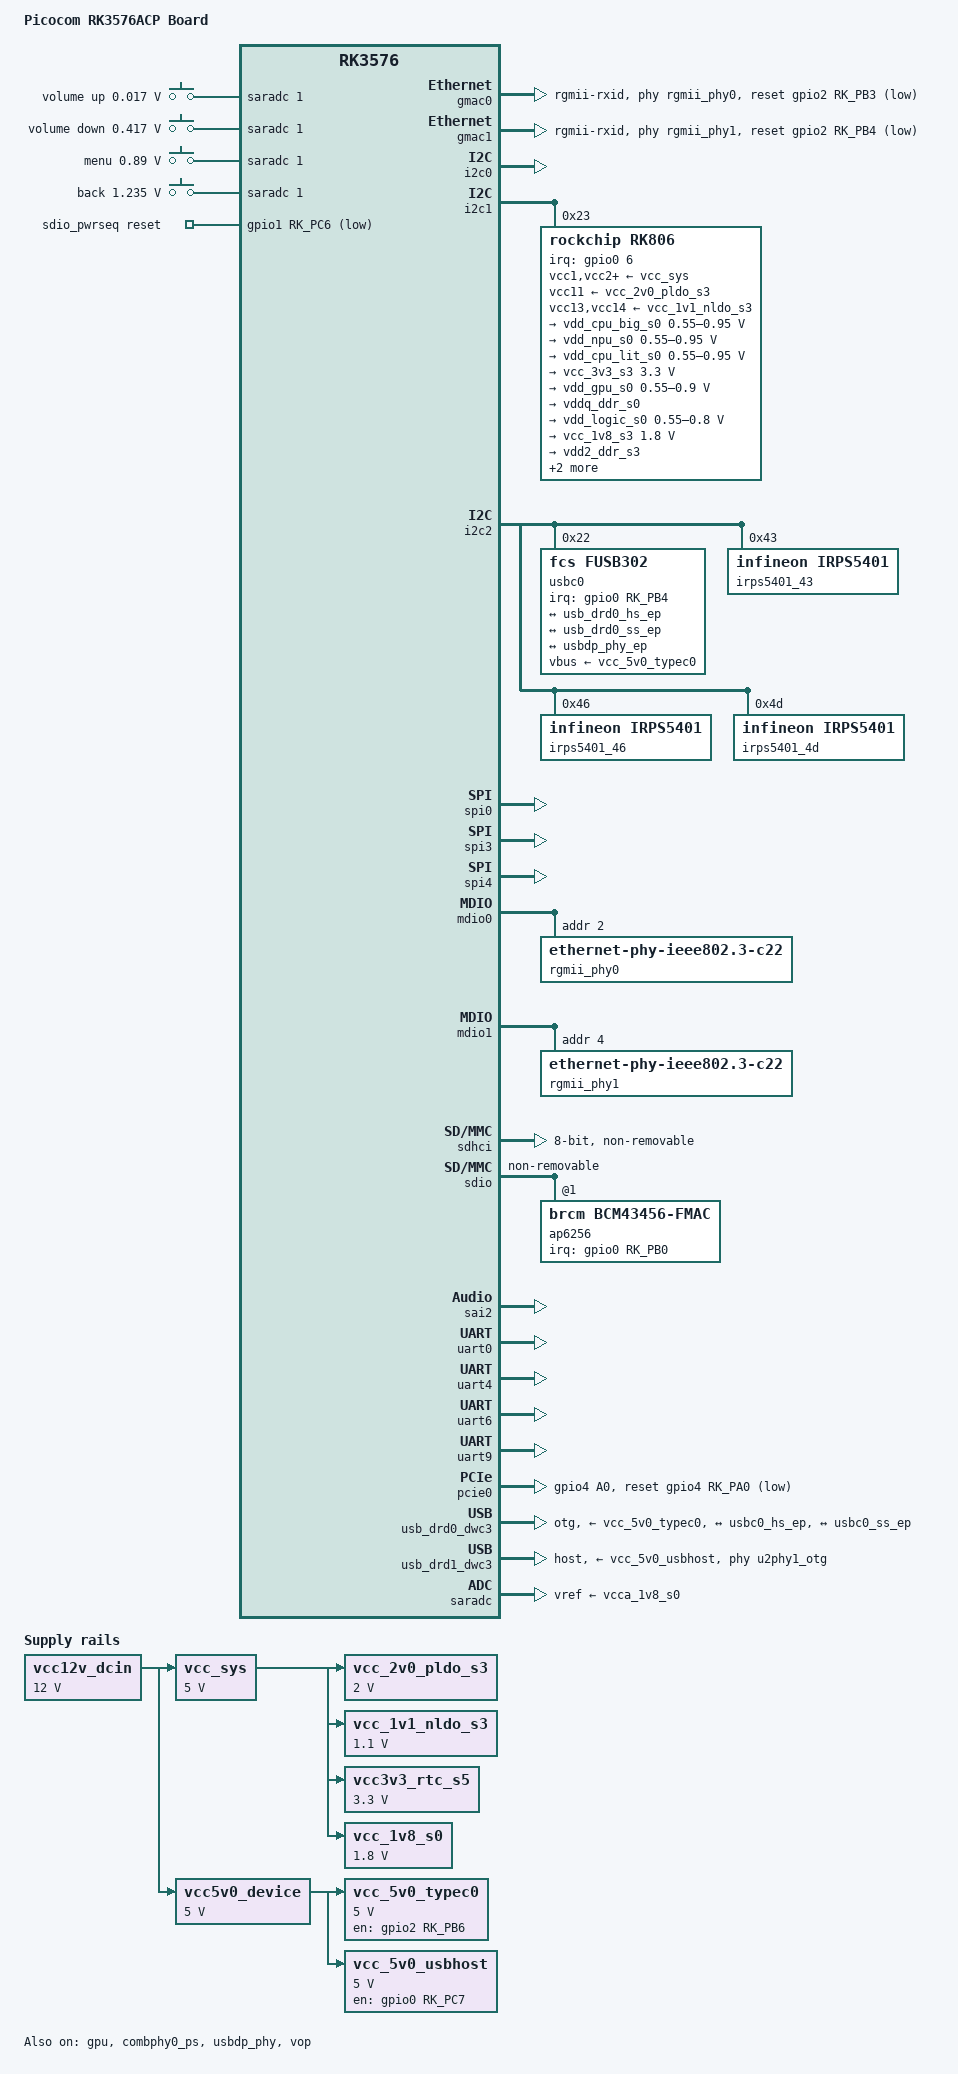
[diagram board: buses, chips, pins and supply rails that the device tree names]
// SPDX-License-Identifier: (GPL-2.0+ OR MIT)
/*
 * Copyright (c) 2024 Rockchip Electronics Co., Ltd.
 *
 */

/dts-v1/;
#include <dt-bindings/usb/pd.h>
#include <dt-bindings/gpio/gpio.h>
#include <dt-bindings/pinctrl/rockchip.h>
#include <dt-bindings/input/input.h>
#include <dt-bindings/soc/rockchip,boot-mode.h>
#include <dt-bindings/soc/rockchip,vop2.h>
#include "rk3576.dtsi"

/ {
	model = "Picocom RK3576ACP Board";
	compatible = "picocom,rk3576acp", "rockchip,rk3576";

	aliases {
		ethernet0 = &gmac0;
		ethernet1 = &gmac1;
		mmc0 = &sdhci;
		mmc1 = &sdio;
	};

	chosen: chosen {
		stdout-path = "serial0:1500000n8";
		bootargs = "earlycon=uart8250,mmio32,0x2ad40000,1500000n8 console=ttyS0,1500000n8";
	};

	adc_keys: adc-keys {
		compatible = "adc-keys";
		io-channels = <&saradc 1>;
		io-channel-names = "buttons";
		keyup-threshold-microvolt = <1800000>;
		poll-interval = <100>;

		vol-up-key {
			label = "volume up";
			linux,code = <KEY_VOLUMEUP>;
			press-threshold-microvolt = <17000>;
		};

		vol-down-key {
			label = "volume down";
			linux,code = <KEY_VOLUMEDOWN>;
			press-threshold-microvolt = <417000>;
		};

		menu-key {
			label = "menu";
			linux,code = <KEY_MENU>;
			press-threshold-microvolt = <890000>;
		};

		back-key {
			label = "back";
			linux,code = <KEY_BACK>;
			press-threshold-microvolt = <1235000>;
		};
	};

	vcc12v_dcin: vcc12v-dcin {
		compatible = "regulator-fixed";
		regulator-name = "vcc12v_dcin";
		regulator-always-on;
		regulator-boot-on;
		regulator-min-microvolt = <12000000>;
		regulator-max-microvolt = <12000000>;
	};

	vcc_sys: vcc5v0-sys {
		compatible = "regulator-fixed";
		regulator-name = "vcc5v0_sys";
		regulator-always-on;
		regulator-boot-on;
		regulator-min-microvolt = <5000000>;
		regulator-max-microvolt = <5000000>;
		vin-supply = <&vcc12v_dcin>;
	};

	vcc5v0_device: vcc5v0-device {
		compatible = "regulator-fixed";
		regulator-name = "vcc5v0_device";
		regulator-always-on;
		regulator-boot-on;
		regulator-min-microvolt = <5000000>;
		regulator-max-microvolt = <5000000>;
		vin-supply = <&vcc12v_dcin>;
	};

	vcc_2v0_pldo_s3: vcc-2v0-pldo-s3 {
		compatible = "regulator-fixed";
		regulator-name = "vcc_2v0_pldo_s3";
		regulator-boot-on;
		regulator-always-on;
		regulator-min-microvolt = <2000000>;
		regulator-max-microvolt = <2000000>;
		vin-supply = <&vcc_sys>;
	};

	vcc_1v1_nldo_s3: vcc-1v1-nldo-s3 {
		compatible = "regulator-fixed";
		regulator-name = "vcc_1v1_nldo_s3";
		regulator-boot-on;
		regulator-always-on;
		regulator-min-microvolt = <1100000>;
		regulator-max-microvolt = <1100000>;
		vin-supply = <&vcc_sys>;
	};

	vcc3v3_rtc_s5: vcc3v3-rtc-s5 {
		compatible = "regulator-fixed";
		regulator-name = "vcc3v3_rtc_s5";
		regulator-boot-on;
		regulator-always-on;
		regulator-min-microvolt = <3300000>;
		regulator-max-microvolt = <3300000>;
		vin-supply = <&vcc_sys>;
	};

	vcc_1v8_s0: vcc-1v8-s0 {
		compatible = "regulator-fixed";
		regulator-name = "vcc_1v8_s0";
		regulator-boot-on;
		regulator-always-on;
		regulator-min-microvolt = <1800000>;
		regulator-max-microvolt = <1800000>;
		vin-supply = <&vcc_sys>;
	};

	vcc_5v0_typec0: regulator-vcc-5v0-typec0 {
		compatible = "regulator-fixed";
		enable-active-high;
		gpio = <&gpio2 RK_PB6 GPIO_ACTIVE_HIGH>;
		pinctrl-names = "default";
		pinctrl-0 = <&usb_otg0_pwren>;
		regulator-name = "vcc_5v0_typec0";
		regulator-min-microvolt = <5000000>;
		regulator-max-microvolt = <5000000>;
		vin-supply = <&vcc5v0_device>;
	};

	vcc_5v0_usbhost: regulator-vcc-5v0-usbhost {
		compatible = "regulator-fixed";
		enable-active-high;
		gpio = <&gpio0 RK_PC7 GPIO_ACTIVE_HIGH>;
		pinctrl-names = "default";
		pinctrl-0 = <&usb_host_pwren>;
		regulator-name = "vcc_5v0_usbhost";
		regulator-min-microvolt = <5000000>;
		regulator-max-microvolt = <5000000>;
		vin-supply = <&vcc5v0_device>;
	};

	sdio_pwrseq: sdio-pwrseq {
		compatible = "mmc-pwrseq-simple";
		reset-gpios = <&gpio1 RK_PC6 GPIO_ACTIVE_LOW>;
	};
};

&cpu_b0 {
	cpu-supply = <&vdd_cpu_big_s0>;
};

&cpu_b1 {
	cpu-supply = <&vdd_cpu_big_s0>;
};

&cpu_b2 {
	cpu-supply = <&vdd_cpu_big_s0>;
};

&cpu_b3 {
	cpu-supply = <&vdd_cpu_big_s0>;
};

&cpu_l0 {
	cpu-supply = <&vdd_cpu_lit_s0>;
};

&cpu_l1 {
	cpu-supply = <&vdd_cpu_lit_s0>;
};

&cpu_l2 {
	cpu-supply = <&vdd_cpu_lit_s0>;
};

&cpu_l3 {
	cpu-supply = <&vdd_cpu_lit_s0>;
};

&gpu {
	mali-supply = <&vdd_gpu_s0>;
	status = "okay";
};

&gmac0 {
	clock_in_out = "output";
	phy-mode = "rgmii-rxid";
	phy-handle = <&rgmii_phy0>;
	pinctrl-names = "default";
	pinctrl-0 = <&eth0m0_miim
		     &eth0m0_tx_bus2
		     &eth0m0_rx_bus2
		     &eth0m0_rgmii_clk
		     &eth0m0_rgmii_bus
		     &ethm0_clk0_25m_out>;
	assigned-clocks = <&cru REFCLKO25M_GMAC0_OUT>;
	assigned-clock-rates = <25000000>;
	assigned-clock-parents = <&cru PLL_CPLL>;
	protected-clocks = <&cru REFCLKO25M_GMAC0_OUT>;
	snps,reset-gpio = <&gpio2 RK_PB3 GPIO_ACTIVE_LOW>;
	snps,reset-active-low;
	snps,reset-delays-us = <0 20000 100000>;
	tx_delay = <0x21>;
	status = "okay";
};

&gmac1 {
	clock_in_out = "output";
	phy-handle = <&rgmii_phy1>;
	phy-mode = "rgmii-rxid";
	pinctrl-names = "default";
	pinctrl-0 = <&eth1m0_miim
		     &eth1m0_tx_bus2
		     &eth1m0_rx_bus2
		     &eth1m0_rgmii_clk
		     &eth1m0_rgmii_bus
		     &ethm0_clk1_25m_out>;
	assigned-clocks = <&cru REFCLKO25M_GMAC1_OUT>;
	assigned-clock-rates = <25000000>;
	assigned-clock-parents = <&cru PLL_CPLL>;
	protected-clocks = <&cru REFCLKO25M_GMAC1_OUT>;
	snps,reset-gpio = <&gpio2 RK_PB4 GPIO_ACTIVE_LOW>;
	snps,reset-active-low;
	snps,reset-delays-us = <0 20000 100000>;
	tx_delay = <0x20>;
	status = "okay";
};

&i2c0 {
	pinctrl-0 = <&i2c0m1_xfer>;
	status = "okay";
};

&i2c1 {
	status = "okay";

	rk806: pmic@23 {
		compatible = "rockchip,rk806";
		reg = <0x23>;
		interrupt-parent = <&gpio0>;
		interrupts = <6 IRQ_TYPE_LEVEL_LOW>;
		gpio-controller;
		#gpio-cells = <2>;
		pinctrl-names = "default";
		pinctrl-0 = <&pmic_pins>, <&rk806_dvs1_null>,
			    <&rk806_dvs2_null>, <&rk806_dvs3_null>;
		system-power-controller;

		vcc1-supply = <&vcc_sys>;
		vcc2-supply = <&vcc_sys>;
		vcc3-supply = <&vcc_sys>;
		vcc4-supply = <&vcc_sys>;
		vcc5-supply = <&vcc_sys>;
		vcc6-supply = <&vcc_sys>;
		vcc7-supply = <&vcc_sys>;
		vcc8-supply = <&vcc_sys>;
		vcc9-supply = <&vcc_sys>;
		vcc10-supply = <&vcc_sys>;
		vcc11-supply = <&vcc_2v0_pldo_s3>;
		vcc12-supply = <&vcc_sys>;
		vcc13-supply = <&vcc_1v1_nldo_s3>;
		vcc14-supply = <&vcc_1v1_nldo_s3>;
		vcca-supply = <&vcc_sys>;

		rk806_dvs1_null: dvs1-null-pins {
			pins = "gpio_pwrctrl1";
			function = "pin_fun0";
		};

		rk806_dvs2_null: dvs2-null-pins {
			pins = "gpio_pwrctrl2";
			function = "pin_fun0";
		};

		rk806_dvs3_null: dvs3-null-pins {
			pins = "gpio_pwrctrl3";
			function = "pin_fun0";
		};

		rk806_dvs1_slp: dvs1-slp-pins {
			pins = "gpio_pwrctrl1";
			function = "pin_fun1";
		};

		rk806_dvs1_pwrdn: dvs1-pwrdn-pins {
			pins = "gpio_pwrctrl1";
			function = "pin_fun2";
		};

		rk806_dvs1_rst: dvs1-rst-pins {
			pins = "gpio_pwrctrl1";
			function = "pin_fun3";
		};

		rk806_dvs2_slp: dvs2-slp-pins {
			pins = "gpio_pwrctrl2";
			function = "pin_fun1";
		};

		rk806_dvs2_pwrdn: dvs2-pwrdn-pins {
			pins = "gpio_pwrctrl2";
			function = "pin_fun2";
		};

		rk806_dvs2_rst: dvs2-rst-pins {
			pins = "gpio_pwrctrl2";
			function = "pin_fun3";
		};

		rk806_dvs2_dvs: dvs2-dvs-pins {
			pins = "gpio_pwrctrl2";
			function = "pin_fun4";
		};

		rk806_dvs2_gpio: dvs2-gpio-pins {
			pins = "gpio_pwrctrl2";
			function = "pin_fun5";
		};

		rk806_dvs3_slp: dvs3-slp-pins {
			pins = "gpio_pwrctrl3";
			function = "pin_fun1";
		};

		rk806_dvs3_pwrdn: dvs3-pwrdn-pins {
			pins = "gpio_pwrctrl3";
			function = "pin_fun2";
		};

		rk806_dvs3_rst: dvs3-rst-pins {
			pins = "gpio_pwrctrl3";
			function = "pin_fun3";
		};

		rk806_dvs3_dvs: dvs3-dvs-pins {
			pins = "gpio_pwrctrl3";
			function = "pin_fun4";
		};

		rk806_dvs3_gpio: dvs3-gpio-pins {
			pins = "gpio_pwrctrl3";
			function = "pin_fun5";
		};

		regulators {
			vdd_cpu_big_s0: dcdc-reg1 {
				regulator-always-on;
				regulator-boot-on;
				regulator-min-microvolt = <550000>;
				regulator-max-microvolt = <950000>;
				regulator-ramp-delay = <12500>;
				regulator-name = "vdd_cpu_big_s0";
				regulator-enable-ramp-delay = <400>;

				regulator-state-mem {
					regulator-off-in-suspend;
				};
			};

			vdd_npu_s0: dcdc-reg2 {
				regulator-boot-on;
				regulator-min-microvolt = <550000>;
				regulator-max-microvolt = <950000>;
				regulator-ramp-delay = <12500>;
				regulator-name = "vdd_npu_s0";
				regulator-enable-ramp-delay = <400>;

				regulator-state-mem {
					regulator-off-in-suspend;
				};
			};

			vdd_cpu_lit_s0: dcdc-reg3 {
				regulator-always-on;
				regulator-boot-on;
				regulator-min-microvolt = <550000>;
				regulator-max-microvolt = <950000>;
				regulator-ramp-delay = <12500>;
				regulator-name = "vdd_cpu_lit_s0";

				regulator-state-mem {
					regulator-off-in-suspend;
					regulator-suspend-microvolt = <750000>;
				};
			};

			vcc_3v3_s3: dcdc-reg4 {
				regulator-always-on;
				regulator-boot-on;
				regulator-min-microvolt = <3300000>;
				regulator-max-microvolt = <3300000>;
				regulator-name = "vcc_3v3_s3";

				regulator-state-mem {
					regulator-on-in-suspend;
					regulator-suspend-microvolt = <3300000>;
				};
			};

			vdd_gpu_s0: dcdc-reg5 {
				regulator-boot-on;
				regulator-min-microvolt = <550000>;
				regulator-max-microvolt = <900000>;
				regulator-ramp-delay = <12500>;
				regulator-name = "vdd_gpu_s0";
				regulator-enable-ramp-delay = <400>;

				regulator-state-mem {
					regulator-off-in-suspend;
					regulator-suspend-microvolt = <850000>;
				};
			};

			vddq_ddr_s0: dcdc-reg6 {
				regulator-always-on;
				regulator-boot-on;
				regulator-name = "vddq_ddr_s0";

				regulator-state-mem {
					regulator-off-in-suspend;
				};
			};

			vdd_logic_s0: dcdc-reg7 {
				regulator-always-on;
				regulator-boot-on;
				regulator-min-microvolt = <550000>;
				regulator-max-microvolt = <800000>;
				regulator-name = "vdd_logic_s0";

				regulator-state-mem {
					regulator-off-in-suspend;
				};
			};

			vcc_1v8_s3: dcdc-reg8 {
				regulator-always-on;
				regulator-boot-on;
				regulator-min-microvolt = <1800000>;
				regulator-max-microvolt = <1800000>;
				regulator-name = "vcc_1v8_s3";

				regulator-state-mem {
					regulator-on-in-suspend;
					regulator-suspend-microvolt = <1800000>;
				};
			};

			vdd2_ddr_s3: dcdc-reg9 {
				regulator-always-on;
				regulator-boot-on;
				regulator-name = "vdd2_ddr_s3";

				regulator-state-mem {
					regulator-on-in-suspend;
				};
			};

			vdd_ddr_s0: dcdc-reg10 {
				regulator-always-on;
				regulator-boot-on;
				regulator-min-microvolt = <550000>;
				regulator-max-microvolt = <1200000>;
				regulator-name = "vdd_ddr_s0";

				regulator-state-mem {
					regulator-off-in-suspend;
				};
			};

			vcca_1v8_s0: pldo-reg1 {
				regulator-always-on;
				regulator-boot-on;
				regulator-min-microvolt = <1800000>;
				regulator-max-microvolt = <1800000>;
				regulator-name = "vcca_1v8_s0";

				regulator-state-mem {
					regulator-off-in-suspend;
				};
			};

			vcca1v8_pldo2_s0: pldo-reg2 {
				regulator-always-on;
				regulator-boot-on;
				regulator-min-microvolt = <1800000>;
				regulator-max-microvolt = <1800000>;
				regulator-name = "vcca1v8_pldo2_s0";

				regulator-state-mem {
					regulator-off-in-suspend;
				};
			};

			vdda_1v2_s0: pldo-reg3 {
				regulator-always-on;
				regulator-boot-on;
				regulator-min-microvolt = <1200000>;
				regulator-max-microvolt = <1200000>;
				regulator-name = "vdda_1v2_s0";

				regulator-state-mem {
					regulator-off-in-suspend;
				};
			};

			vcca_3v3_s0: pldo-reg4 {
				regulator-always-on;
				regulator-boot-on;
				regulator-min-microvolt = <3300000>;
				regulator-max-microvolt = <3300000>;
				regulator-name = "vcca_3v3_s0";

				regulator-state-mem {
					regulator-off-in-suspend;
				};
			};

			vccio_sd_s0: pldo-reg5 {
				regulator-always-on;
				regulator-boot-on;
				regulator-min-microvolt = <1800000>;
				regulator-max-microvolt = <3300000>;
				regulator-name = "vccio_sd_s0";

				regulator-state-mem {
					regulator-off-in-suspend;
				};
			};

			vcca1v8_pldo6_s3: pldo-reg6 {
				regulator-always-on;
				regulator-boot-on;
				regulator-min-microvolt = <1800000>;
				regulator-max-microvolt = <1800000>;
				regulator-name = "vcca1v8_pldo6_s3";

				regulator-state-mem {
					regulator-on-in-suspend;
					regulator-suspend-microvolt = <1800000>;
				};
			};

			vdd_0v75_s3: nldo-reg1 {
				regulator-always-on;
				regulator-boot-on;
				regulator-min-microvolt = <550000>;
				regulator-max-microvolt = <750000>;
				regulator-name = "vdd_0v75_s3";

				regulator-state-mem {
					regulator-on-in-suspend;
					regulator-suspend-microvolt = <750000>;
				};
			};

			vdda_ddr_pll_s0: nldo-reg2 {
				regulator-always-on;
				regulator-boot-on;
				regulator-min-microvolt = <850000>;
				regulator-max-microvolt = <850000>;
				regulator-name = "vdda_ddr_pll_s0";

				regulator-state-mem {
					regulator-off-in-suspend;
				};
			};

			vdda0v75_hdmi_s0: nldo-reg3 {
				regulator-boot-on;
				regulator-min-microvolt = <837500>;
				regulator-max-microvolt = <837500>;
				regulator-name = "vdda0v75_hdmi_s0";

				regulator-state-mem {
					regulator-off-in-suspend;
				};
			};

			vdda_0v85_s0: nldo-reg4 {
				regulator-always-on;
				regulator-boot-on;
				regulator-min-microvolt = <850000>;
				regulator-max-microvolt = <850000>;
				regulator-name = "vdda_0v85_s0";

				regulator-state-mem {
					regulator-off-in-suspend;
				};
			};

			vdda_0v75_s0: nldo-reg5 {
				regulator-always-on;
				regulator-boot-on;
				regulator-min-microvolt = <750000>;
				regulator-max-microvolt = <750000>;
				regulator-name = "vdda_0v75_s0";

				regulator-state-mem {
					regulator-off-in-suspend;
				};
			};
		};
	};
};

&i2c2 {
	status = "okay";

	usbc0: typec-portc@22 {
		compatible = "fcs,fusb302";
		reg = <0x22>;
		interrupt-parent = <&gpio0>;
		interrupts = <RK_PB4 IRQ_TYPE_LEVEL_LOW>;
		pinctrl-names = "default";
		pinctrl-0 = <&usbc0_interrupt>;
		vbus-supply = <&vcc_5v0_typec0>;

		connector {
			compatible = "usb-c-connector";
			label = "USB-C";
			data-role = "dual";
			/* fusb302 supports PD Rev 2.0 Ver 1.2 */
			pd-revision = /bits/ 8 <0x2 0x0 0x1 0x2>;
			power-role = "source";
			source-pdos = <PDO_FIXED(5000, 2000,
						 PDO_FIXED_USB_COMM | PDO_FIXED_DATA_SWAP)>;

			altmodes {
				displayport {
					svid = /bits/ 16 <0xff01>;
					vdo = <0xffffffff>;
				};
			};

			ports {
				#address-cells = <1>;
				#size-cells = <0>;

				port@0 {
					reg = <0>;
					usbc0_hs_ep: endpoint {
						remote-endpoint = <&usb_drd0_hs_ep>;
					};
				};
				port@1 {
					reg = <1>;
					usbc0_ss_ep: endpoint {
						remote-endpoint = <&usb_drd0_ss_ep>;
					};
				};
				port@2 {
					reg = <2>;
					usbc0_dp_ep: endpoint {
						remote-endpoint = <&usbdp_phy_ep>;
					};
				};
			};
		};
	};

	irps5401_43: irps5401@43 {
		compatible = "infineon,irps5401";
		reg = <0x43>;
	};

	irps5401_46: irps5401@46 {
		compatible = "infineon,irps5401";
		reg = <0x46>;
	};

	irps5401_4d: irps5401@4d {
		compatible = "infineon,irps5401";
		reg = <0x4d>;
	};
};

&spi0 {
	pinctrl-0 = <&spi0m1_csn0 &spi0m1_pins>;
	status = "okay";
};

&spi3 {
	status = "okay";
};

&spi4 {
	status = "okay";
};

&mdio0 {
	rgmii_phy0: phy@2 {
		compatible = "ethernet-phy-ieee802.3-c22";
		reg = <0x2>;
	};
};

&mdio1 {
	rgmii_phy1: phy@4 {
		compatible = "ethernet-phy-ieee802.3-c22";
		reg = <0x4>;
	};
};

&pmu0_grf {
	reboot-mode {
		compatible = "syscon-reboot-mode";
		offset = <0x40>;
		mode-normal = <BOOT_NORMAL>;
		mode-loader = <BOOT_BL_DOWNLOAD>;
		/* BOOT_BROM_DOWNLOAD, checked by Rockchip SPL before U-Boot proper. */
		mode-maskrom = <0xef08a53c>;
	};
};

&sdhci {
	bus-width = <8>;
	full-pwr-cycle-in-suspend;
	max-frequency = <200000000>;
	mmc-hs400-1_8v;
	mmc-hs400-enhanced-strobe;
	no-sdio;
	no-sd;
	non-removable;
	/delete-property/ supports-cqe;
	status = "okay";
};

/* WIFI part of the AP6256 connected with SDIO */
&sdio {
	#address-cells = <1>;
	#size-cells = <0>;
	cap-sd-highspeed;
	cap-sdio-irq;
	disable-wp;
	keep-power-in-suspend;
	mmc-pwrseq = <&sdio_pwrseq>;
	no-mmc;
	no-sd;
	non-removable;
	sd-uhs-sdr104;
	status = "okay";

	ap6256: wifi@1 {
		compatible = "brcm,bcm43456-fmac", "brcm,bcm4329-fmac";
		reg = <1>;
		interrupt-parent = <&gpio0>;
		interrupts = <RK_PB0 IRQ_TYPE_LEVEL_HIGH>;
		interrupt-names = "host-wake";
		pinctrl-names = "default";
		pinctrl-0 = <&wifi_wake_host>;
	};
};

&pinctrl {
	wifi {
		wifi_wake_host: wifi-wake-host {
			rockchip,pins = <0 RK_PB0 RK_FUNC_GPIO &pcfg_pull_down>;
		};
	};

	usb {
		usb_host_pwren: usb-host-pwren {
			rockchip,pins = <0 RK_PC7 RK_FUNC_GPIO &pcfg_pull_none>;
		};
		usb_otg0_pwren: usb-otg0-pwren {
			rockchip,pins = <2 RK_PB6 RK_FUNC_GPIO &pcfg_pull_none>;
		};
		usbc0_interrupt: usbc0-interrupt {
			rockchip,pins = <0 RK_PB4 RK_FUNC_GPIO &pcfg_pull_up>;
		};
		usbc0_sbu1: usbc0-sbu1 {
			rockchip,pins = <2 RK_PB0 RK_FUNC_GPIO &pcfg_pull_down>;
		};
		usbc0_sbu2: usbc0-sbu2 {
			rockchip,pins = <2 RK_PB1 RK_FUNC_GPIO &pcfg_pull_down>;
		};
	};

	pcie {
		pcie_reset: pcie-reset {
			rockchip,pins = <4 RK_PA0 RK_FUNC_GPIO &pcfg_pull_none>;
		};
	};
};

&sai2 {
	status = "okay";
};

&uart0 {
	pinctrl-0 = <&uart0m0_xfer>;
	status = "okay";
};

&uart4 {
	pinctrl-0 = <&uart4m1_xfer &uart4m1_ctsn &uart4m1_rtsn>;
	pinctrl-names = "default";
	uart-has-rtscts;
	status = "okay";
};

&uart6 {
	pinctrl-0 = <&uart6m0_xfer>;
	status = "okay";
};

&uart9 {
	pinctrl-0 = <&uart9m2_xfer>;
	status = "okay";
};

&combphy0_ps {
	status = "okay";
};

&pcie0 {
	pinctrl-names = "default";
	pinctrl-0 = <&pcie_reset>;
	reset-gpios = <&gpio4 RK_PA0 GPIO_ACTIVE_LOW>;
	status = "okay";
};

&usb_drd0_dwc3 {
	usb-role-switch;
	dr_mode = "otg";
	vbus-supply = <&vcc_5v0_typec0>;
	status = "okay";

	ports {
		#address-cells = <1>;
		#size-cells = <0>;

		port@0 {
			reg = <0>;
			usb_drd0_hs_ep: endpoint {
				remote-endpoint = <&usbc0_hs_ep>;
			};
		};

		port@1 {
			reg = <1>;
			usb_drd0_ss_ep: endpoint {
				remote-endpoint = <&usbc0_ss_ep>;
			};
		};
	};
};

&usb_drd1_dwc3 {
	dr_mode = "host";
	maximum-speed = "high-speed";
	phys = <&u2phy1_otg>;
	phy-names = "usb2-phy";
	vbus-supply = <&vcc_5v0_usbhost>;
	status = "okay";
};

&usbdp_phy {
	mode-switch;
	orientation-switch;
	pinctrl-names = "default";
	pinctrl-0 = <&usbc0_sbu1 &usbc0_sbu2>;
	sbu1-dc-gpios = <&gpio2 RK_PB0 GPIO_ACTIVE_HIGH>;
	sbu2-dc-gpios = <&gpio2 RK_PB1 GPIO_ACTIVE_HIGH>;
	status = "okay";

	port {
		usbdp_phy_ep: endpoint {
			remote-endpoint = <&usbc0_dp_ep>;
		};
	};
};

&saradc {
	vref-supply = <&vcca_1v8_s0>;
	status = "okay";
};

&vop {
	status = "okay";
};

&vop_mmu {
	status = "okay";
};
